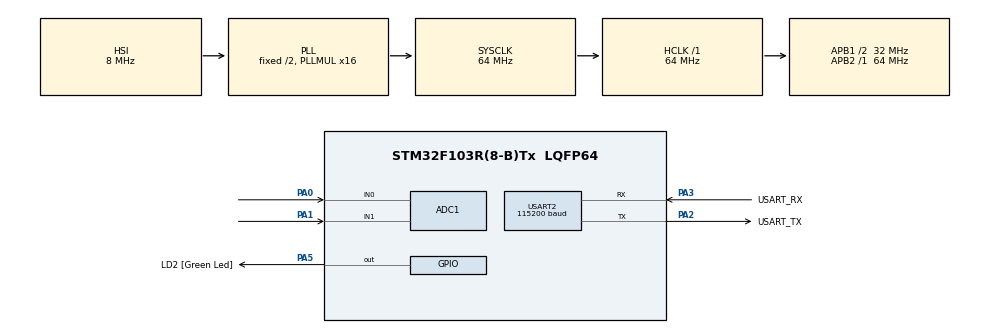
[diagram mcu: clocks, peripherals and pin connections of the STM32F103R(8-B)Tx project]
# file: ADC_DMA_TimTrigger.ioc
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ADC1.Channel-0\#ChannelRegularConversion=ADC_CHANNEL_0
ADC1.Channel-1\#ChannelRegularConversion=ADC_CHANNEL_1
ADC1.ContinuousConvMode=DISABLE
ADC1.DiscontinuousConvMode=DISABLE
ADC1.ExternalTrigConv=ADC_EXTERNALTRIGCONV_T3_TRGO
ADC1.NbrOfConversion=2
ADC1.NbrOfConversionFlag=1
ADC1.Rank-0\#ChannelRegularConversion=1
ADC1.Rank-1\#ChannelRegularConversion=2
ADC1.SamplingTime-0\#ChannelRegularConversion=ADC_SAMPLETIME_55CYCLES_5
ADC1.SamplingTime-1\#ChannelRegularConversion=ADC_SAMPLETIME_55CYCLES_5
ADC1.ScanConvMode=ADC_SCAN_ENABLE
ADC1.master=1
Dma.ADC1.0.Direction=DMA_PERIPH_TO_MEMORY
Dma.ADC1.0.Instance=DMA1_Channel1
Dma.ADC1.0.MemDataAlignment=DMA_MDATAALIGN_HALFWORD
Dma.ADC1.0.MemInc=DMA_MINC_ENABLE
Dma.ADC1.0.Mode=DMA_CIRCULAR
Dma.ADC1.0.PeriphDataAlignment=DMA_PDATAALIGN_HALFWORD
Dma.ADC1.0.PeriphInc=DMA_PINC_DISABLE
Dma.ADC1.0.Priority=DMA_PRIORITY_MEDIUM
Dma.Request0=ADC1
Mcu.Family=STM32F1
Mcu.Name=STM32F103R(8-B)Tx
Mcu.Package=LQFP64
NVIC.DMA1_Channel1_IRQn=true\:1\:0\:false\:false\:true\:true\:true\:true
NVIC.PriorityGroup=NVIC_PRIORITYGROUP_4
PA0-WKUP.Mode=IN0
PA0-WKUP.Signal=ADCx_IN0
PA1.Mode=IN1
PA1.Signal=ADCx_IN1
PA13.GPIO_Label=TMS
PA13.Mode=Serial_Wire
PA13.Signal=SYS_JTMS-SWDIO
PA14.GPIO_Label=TCK
PA14.Mode=Serial_Wire
PA14.Signal=SYS_JTCK-SWCLK
PA2.GPIO_Label=USART_TX
PA2.GPIO_Mode=GPIO_MODE_AF_PP
PA2.GPIO_PuPd=GPIO_NOPULL
PA2.GPIO_Speed=GPIO_SPEED_FREQ_LOW
PA2.Mode=Asynchronous
PA2.Signal=USART2_TX
PA3.GPIO_Label=USART_RX
PA3.GPIO_PuPd=GPIO_NOPULL
PA3.GPIO_Speed=GPIO_SPEED_FREQ_LOW
PA3.Mode=Asynchronous
PA3.Signal=USART2_RX
PA5.GPIO_Label=LD2 [Green Led]
PA5.GPIO_ModeDefaultOutputPP=GPIO_MODE_OUTPUT_PP
PA5.GPIO_PuPd=GPIO_NOPULL
PA5.GPIO_Speed=GPIO_SPEED_FREQ_LOW
PA5.Signal=GPIO_Output
PB3.GPIO_Label=SWO
PB3.Signal=SYS_JTDO-TRACESWO
PC14-OSC32_IN.Mode=LSE-External-Oscillator
PC14-OSC32_IN.Signal=RCC_OSC32_IN
PC15-OSC32_OUT.Mode=LSE-External-Oscillator
PC15-OSC32_OUT.Signal=RCC_OSC32_OUT
PD0-OSC_IN.Mode=HSE-External-Clock-Source
PD0-OSC_IN.Signal=RCC_OSC_IN
PD1-OSC_OUT.Mode=HSE-External-Clock-Source
PD1-OSC_OUT.Signal=RCC_OSC_OUT
ProjectManager.HeapSize=0x200
ProjectManager.StackSize=0x400
ProjectManager.TargetToolchain=STM32CubeIDE
RCC.ADCPresc=RCC_ADCPCLK2_DIV6
RCC.AHBFreq_Value=64000000
RCC.APB1CLKDivider=RCC_HCLK_DIV2
RCC.APB1Freq_Value=32000000
RCC.APB1TimFreq_Value=64000000
RCC.APB2Freq_Value=64000000
RCC.APB2TimFreq_Value=64000000
RCC.HCLKFreq_Value=64000000
RCC.PLLMUL=RCC_PLL_MUL16
RCC.RTCClockSelection=RCC_RTCCLKSOURCE_LSE
RCC.SYSCLKFreq_VALUE=64000000
RCC.SYSCLKSource=RCC_SYSCLKSOURCE_PLLCLK
RCC.USBFreq_Value=64000000
SH.ADCx_IN0.0=ADC1_IN0,IN0
SH.ADCx_IN1.0=ADC1_IN1,IN1
TIM3.Period=999
TIM3.Prescaler=63
TIM3.TIM_MasterOutputTrigger=TIM_TRGO_UPDATE
USART2.BaudRate=115200
USART2.VirtualMode=VM_ASYNC
VP_TIM3_VS_ClockSourceINT.Mode=Internal
board=NUCLEO-F103RB

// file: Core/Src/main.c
/* USER CODE BEGIN Header */
/**
 ******************************************************************************
 * @file           : main.c
 * @brief          : Main program body
 ******************************************************************************
 * @attention
 *
 * Copyright (c) 2026 STMicroelectronics.
 * All rights reserved.
 *
 * This software is licensed under terms that can be found in the LICENSE file
 * in the root directory of this software component.
 * If no LICENSE file comes with this software, it is provided AS-IS.
 *
 ******************************************************************************
 */
/**
 * 04_ADC_DMA_TimTrigger  —  [계층: HAL]  타이머 트리거 + ADC 스캔 + DMA 원형 저장
 *
 * 동작 (CPU 개입 없이 정확한 주기로 샘플링)
 *   TIM3 업데이트 이벤트(1kHz) --TRGO--> ADC1 외부 트리거 --> CH0(PA0), CH1(PA1) 2채널 스캔 변환
 *   --> DMA1 채널1 이 결과를 adc_buf[] 에 원형(circular)으로 저장
 *   --> 버퍼 절반(HT)/끝(TC)마다 콜백 -> 평균 계산. 1초마다 UART 출력.
 *
 * 왜 타이머 트리거인가: 소프트웨어 시작/연속 변환은 샘플 간격이 흔들리거나 변환시간에 좌우된다.
 *   TRGO 트리거는 샘플링 주파수(1kHz)가 타이머로 정확히 정해져 FFT/필터 같은 신호처리에 적합하다.
 *
 * 핀: PA0(A0), PA1(A1)에 가변저항 또는 0~3.3V 신호 연결 (미연결 시 플로팅 값이 나온다)
 *
 * 하드웨어 대응 (RM0008)
 *   TIM3->CR2.MMS = 010 (TRGO = 업데이트 이벤트)
 *   ADC1->CR2: EXTSEL = 100 (TIM3_TRGO), EXTTRIG = 1, DMA = 1, ADON, (CONT = 0)
 *   ADC1->CR1.SCAN = 1, ADC1->SQR1.L = 1 (변환 2개), SQR3 = {CH0, CH1}, SMPR2 = 55.5 사이클
 *   ADC 클럭 = PCLK2(64MHz)/6 = 10.67MHz (최대 14MHz)
 *   DMA1_Channel1: 주변장치->메모리, 반워드, 원형, HT/TC 인터럽트
 *
 * ISR vs 콜백
 *   DMA1_Channel1_IRQHandler (stm32f1xx_it.c, 진짜 ISR) -> HAL_DMA_IRQHandler()
 *     -> HAL_ADC_ConvHalfCpltCallback() / HAL_ADC_ConvCpltCallback() (이 파일)
 */
/* USER CODE END Header */
#include "main.h"

/* USER CODE BEGIN Includes */
#include <stdio.h>
/* USER CODE END Includes */

/* USER CODE BEGIN PD */
#define N_CH        2
#define N_SCAN      32                       /* 절반 버퍼당 스캔 횟수 (1kHz -> 32ms) */
#define BUF_LEN     (N_CH * N_SCAN * 2)      /* 2 (절반) x 32 스캔 x 2 채널 = 128 반워드 */

/* USER CODE END PD */

ADC_HandleTypeDef hadc1;
DMA_HandleTypeDef hdma_adc1;
TIM_HandleTypeDef htim3;
UART_HandleTypeDef huart2;

/* USER CODE BEGIN PV */
static uint16_t adc_buf[BUF_LEN];            /* [ch0, ch1, ch0, ch1, ...] 인터리브 */
static volatile uint32_t avg_ch[N_CH];       /* 최근 절반 버퍼의 채널별 평균 */
static volatile uint32_t half_events, full_events;
/* USER CODE END PV */

void SystemClock_Config(void);
static void MX_GPIO_Init(void);
static void MX_DMA_Init(void);
static void MX_ADC1_Init(void);
static void MX_TIM3_Init(void);
static void MX_USART2_UART_Init(void);

/* USER CODE BEGIN 0 */
/* 절반 버퍼(offset 부터 N_CH*N_SCAN 개)의 채널별 평균. ISR 문맥에서 호출되므로 짧게 */
static void process_half(const uint16_t *p)
{
    uint32_t sum[N_CH] = {0};
    for (uint32_t i = 0; i < N_SCAN; i++)
        for (uint32_t c = 0; c < N_CH; c++)
            sum[c] += p[i * N_CH + c];
    for (uint32_t c = 0; c < N_CH; c++) avg_ch[c] = sum[c] / N_SCAN;
}
/* USER CODE END 0 */

int main(void)
{

  /* USER CODE BEGIN 1 */
  char msg[96];
  uint32_t last_h = 0, last_f = 0;
  /* USER CODE END 1 */

  /* MCU Configuration--------------------------------------------------------*/

  /* Reset of all peripherals, Initializes the Flash interface and the Systick. */
  HAL_Init();

  /* Configure the system clock */
  SystemClock_Config();

  /* Initialize all configured peripherals */
  MX_GPIO_Init();
  MX_DMA_Init();
  MX_ADC1_Init();
  MX_TIM3_Init();
  MX_USART2_UART_Init();
  /* USER CODE BEGIN 2 */
  if (HAL_ADCEx_Calibration_Start(&hadc1) != HAL_OK) Error_Handler();   /* ADC1->CR2.CAL */
  if (HAL_ADC_Start_DMA(&hadc1, (uint32_t *)adc_buf, BUF_LEN) != HAL_OK) Error_Handler();
  if (HAL_TIM_Base_Start(&htim3) != HAL_OK) Error_Handler();            /* 인터럽트 없이 TRGO 만 사용 (TIM3->CR1.CEN = 1) */
  /* USER CODE END 2 */

  /* Infinite loop */
  while (1)
  {

    /* USER CODE BEGIN 3 */
    HAL_Delay(1000);
    uint32_t h = half_events, f = full_events;
    int n = snprintf(msg, sizeof msg, "CH0=%4lu CH1=%4lu  (half %lu/s, full %lu/s)\r\n",
                     (unsigned long)avg_ch[0], (unsigned long)avg_ch[1],
                     (unsigned long)(h - last_h), (unsigned long)(f - last_f));
    last_h = h; last_f = f;
    /* 기대값: half, full 각각 15 또는 16 (평균 15.6).
     *   버퍼 전체 BUF_LEN = 128 = 2채널 x 64스캔 -> 1kHz 에서 한 바퀴 64ms.
     *   HT, TC 는 한 바퀴에 한 번씩 -> 1000 / 64 = 15.6 회/s (둘을 합치면 31.25 회/s) */
    HAL_UART_Transmit(&huart2, (uint8_t *)msg, (uint16_t)n, 100);
  }
  /* USER CODE END 3 */
}

void SystemClock_Config(void)
{
  RCC_OscInitTypeDef RCC_OscInitStruct = {0};
  RCC_ClkInitTypeDef RCC_ClkInitStruct = {0};
  RCC_PeriphCLKInitTypeDef PeriphClkInit = {0};

  /** Initializes the RCC Oscillators according to the specified parameters
  * in the RCC_OscInitTypeDef structure.
  */
  RCC_OscInitStruct.OscillatorType = RCC_OSCILLATORTYPE_HSI;
  RCC_OscInitStruct.HSIState = RCC_HSI_ON;
  RCC_OscInitStruct.HSICalibrationValue = RCC_HSICALIBRATION_DEFAULT;
  RCC_OscInitStruct.PLL.PLLState = RCC_PLL_ON;
  RCC_OscInitStruct.PLL.PLLSource = RCC_PLLSOURCE_HSI_DIV2;
  RCC_OscInitStruct.PLL.PLLMUL = RCC_PLL_MUL16;
  if (HAL_RCC_OscConfig(&RCC_OscInitStruct) != HAL_OK)
  {
    Error_Handler();
  }

  /** Initializes the CPU, AHB and APB buses clocks
  */
  RCC_ClkInitStruct.ClockType = RCC_CLOCKTYPE_HCLK|RCC_CLOCKTYPE_SYSCLK
                              |RCC_CLOCKTYPE_PCLK1|RCC_CLOCKTYPE_PCLK2;
  RCC_ClkInitStruct.SYSCLKSource = RCC_SYSCLKSOURCE_PLLCLK;
  RCC_ClkInitStruct.AHBCLKDivider = RCC_SYSCLK_DIV1;
  RCC_ClkInitStruct.APB1CLKDivider = RCC_HCLK_DIV2;
  RCC_ClkInitStruct.APB2CLKDivider = RCC_HCLK_DIV1;

  if (HAL_RCC_ClockConfig(&RCC_ClkInitStruct, FLASH_LATENCY_2) != HAL_OK)
  {
    Error_Handler();
  }

  PeriphClkInit.PeriphClockSelection = RCC_PERIPHCLK_ADC;
  PeriphClkInit.AdcClockSelection = RCC_ADCPCLK2_DIV6;
  if (HAL_RCCEx_PeriphCLKConfig(&PeriphClkInit) != HAL_OK)
  {
    Error_Handler();
  }
}

static void MX_ADC1_Init(void)
{

  ADC_ChannelConfTypeDef sConfig = {0};

  /** Common config
  */
  hadc1.Instance = ADC1;
  hadc1.Init.ScanConvMode = ADC_SCAN_ENABLE;
  hadc1.Init.ContinuousConvMode = DISABLE;
  hadc1.Init.DiscontinuousConvMode = DISABLE;
  hadc1.Init.ExternalTrigConv = ADC_EXTERNALTRIGCONV_T3_TRGO;
  hadc1.Init.DataAlign = ADC_DATAALIGN_RIGHT;
  hadc1.Init.NbrOfConversion = 2;
  if (HAL_ADC_Init(&hadc1) != HAL_OK)
  {
    Error_Handler();
  }

  /** Configure Regular Channel
  */
  sConfig.Channel = ADC_CHANNEL_0;
  sConfig.Rank = ADC_REGULAR_RANK_1;
  sConfig.SamplingTime = ADC_SAMPLETIME_55CYCLES_5;
  if (HAL_ADC_ConfigChannel(&hadc1, &sConfig) != HAL_OK)
  {
    Error_Handler();
  }

  /** Configure Regular Channel
  */
  sConfig.Channel = ADC_CHANNEL_1;
  sConfig.Rank = ADC_REGULAR_RANK_2;
  sConfig.SamplingTime = ADC_SAMPLETIME_55CYCLES_5;
  if (HAL_ADC_ConfigChannel(&hadc1, &sConfig) != HAL_OK)
  {
    Error_Handler();
  }
  /* USER CODE BEGIN ADC1_Init 2 */
  /* ADC1->CR1.SCAN = 1, CR2.CONT = 0 (트리거 1번 = 스캔 1회), CR2.EXTSEL = 100 (TIM3_TRGO), CR2.EXTTRIG = 1
   * ADC1->SQR1.L = 1 (변환 2개), SQR3 = {CH0, CH1}, SMPR2 = 55.5 사이클
   * CR2.DMA = 1 은 HAL_ADC_Start_DMA() 가 설정한다. ADC 클럭 prescaler (RCC->CFGR.ADCPRE, 64/6 = 10.67MHz) 는 SystemClock_Config() */
  /* USER CODE END ADC1_Init 2 */

}

static void MX_TIM3_Init(void)
{

  TIM_ClockConfigTypeDef sClockSourceConfig = {0};
  TIM_MasterConfigTypeDef sMasterConfig = {0};

  htim3.Instance = TIM3;
  htim3.Init.Prescaler = 63;
  htim3.Init.CounterMode = TIM_COUNTERMODE_UP;
  htim3.Init.Period = 999;
  htim3.Init.ClockDivision = TIM_CLOCKDIVISION_DIV1;
  htim3.Init.AutoReloadPreload = TIM_AUTORELOAD_PRELOAD_DISABLE;
  if (HAL_TIM_Base_Init(&htim3) != HAL_OK)
  {
    Error_Handler();
  }
  sClockSourceConfig.ClockSource = TIM_CLOCKSOURCE_INTERNAL;
  if (HAL_TIM_ConfigClockSource(&htim3, &sClockSourceConfig) != HAL_OK)
  {
    Error_Handler();
  }
  sMasterConfig.MasterOutputTrigger = TIM_TRGO_UPDATE;
  sMasterConfig.MasterSlaveMode = TIM_MASTERSLAVEMODE_DISABLE;
  if (HAL_TIMEx_MasterConfigSynchronization(&htim3, &sMasterConfig) != HAL_OK)
  {
    Error_Handler();
  }
  /* USER CODE BEGIN TIM3_Init 2 */
  /* TIM3: 64MHz / (PSC+1 = 64) = 1MHz, ARR = 999 -> 1kHz 업데이트 이벤트.
   *   TIM3->PSC = 63, TIM3->ARR = 999, TIM3->CR2.MMS = 010 (업데이트 이벤트 -> TRGO -> ADC1 외부 트리거) */
  /* USER CODE END TIM3_Init 2 */

}

static void MX_USART2_UART_Init(void)
{

  huart2.Instance = USART2;
  huart2.Init.BaudRate = 115200;
  huart2.Init.WordLength = UART_WORDLENGTH_8B;
  huart2.Init.StopBits = UART_STOPBITS_1;
  huart2.Init.Parity = UART_PARITY_NONE;
  huart2.Init.Mode = UART_MODE_TX_RX;
  huart2.Init.HwFlowCtl = UART_HWCONTROL_NONE;
  huart2.Init.OverSampling = UART_OVERSAMPLING_16;
  if (HAL_UART_Init(&huart2) != HAL_OK)
  {
    Error_Handler();
  }

}

static void MX_DMA_Init(void)
{

  /* DMA controller clock enable */
  __HAL_RCC_DMA1_CLK_ENABLE();

  /* DMA interrupt init */
  /* DMA1_Channel1_IRQn interrupt configuration */
  HAL_NVIC_SetPriority(DMA1_Channel1_IRQn, 1, 0);
  HAL_NVIC_EnableIRQ(DMA1_Channel1_IRQn);

}

static void MX_GPIO_Init(void)
{
  GPIO_InitTypeDef GPIO_InitStruct = {0};

  /* GPIO Ports Clock Enable */
  __HAL_RCC_GPIOC_CLK_ENABLE();
  __HAL_RCC_GPIOD_CLK_ENABLE();
  __HAL_RCC_GPIOA_CLK_ENABLE();
  __HAL_RCC_GPIOB_CLK_ENABLE();

  /*Configure GPIO pin Output Level */
  HAL_GPIO_WritePin(LD2_GPIO_Port, LD2_Pin, GPIO_PIN_RESET);

  /*Configure GPIO pin : LD2_Pin */
  GPIO_InitStruct.Pin = LD2_Pin;
  GPIO_InitStruct.Mode = GPIO_MODE_OUTPUT_PP;
  GPIO_InitStruct.Pull = GPIO_NOPULL;
  GPIO_InitStruct.Speed = GPIO_SPEED_FREQ_LOW;
  HAL_GPIO_Init(LD2_GPIO_Port, &GPIO_InitStruct);

}

/* USER CODE BEGIN 4 */
/* ------------------------------------------------------------------------- */
/* HAL 콜백 (ISR 아님, HAL_DMA_IRQHandler 가 호출)                              */
/* ------------------------------------------------------------------------- */
void HAL_ADC_ConvHalfCpltCallback(ADC_HandleTypeDef *hadc)   /* 앞 절반이 채워짐 (DMA 는 뒤 절반에 쓰는 중) */
{
    if (hadc->Instance == ADC1) { process_half(&adc_buf[0]); half_events++; }
}

void HAL_ADC_ConvCpltCallback(ADC_HandleTypeDef *hadc)       /* 뒤 절반이 채워짐 (DMA 는 앞 절반으로 되돌아감) */
{
    if (hadc->Instance == ADC1) { process_half(&adc_buf[BUF_LEN / 2]); full_events++; }
}
/* USER CODE END 4 */

void Error_Handler(void)
{
  __disable_irq();
  while (1) {
  }
}
#ifdef USE_FULL_ASSERT
/**
  * @brief  Reports the name of the source file and the source line number
  *         where the assert_param error has occurred.
  * @param  file: pointer to the source file name
  * @param  line: assert_param error line source number
  * @retval None
  */
void assert_failed(uint8_t *file, uint32_t line)
{
  /* USER CODE BEGIN 6 */
  /* User can add his own implementation to report the file name and line
     number, ex: printf("Wrong parameters value: file %s on line %d\r\n", file,
     line) */
  /* USER CODE END 6 */
}
#endif /* USE_FULL_ASSERT */
